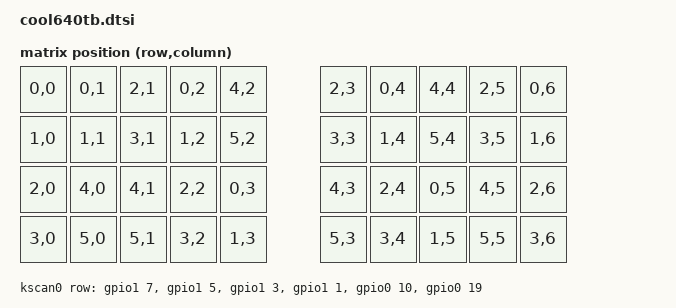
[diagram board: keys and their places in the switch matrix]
#include <dt-bindings/zmk/matrix_transform.h>
#include <physical_layouts.dtsi>

/ {
    chosen {
        zmk,physical-layout = &cool640tb_physical_layout;
    };
    
    cool640tb_physical_layout: cool640tb_physical_layout {
        compatible = "zmk,physical-layout";
        display-name = "Default";
        transform = <&default_transform>;
        kscan = <&kscan0>;
    
     keys  //                        w   h    x    y     rot    rx    ry
            = <&key_physical_attrs 100 100    0    0       0     0     0>
            , <&key_physical_attrs 100 100  100    0       0     0     0>
            , <&key_physical_attrs 100 100  200    0       0     0     0>
            , <&key_physical_attrs 100 100  300    0       0     0     0>
            , <&key_physical_attrs 100 100  400    0       0     0     0>

            , <&key_physical_attrs 100 100  600    0       0     0     0>
            , <&key_physical_attrs 100 100  700    0       0     0     0>
            , <&key_physical_attrs 100 100  800    0       0     0     0>
            , <&key_physical_attrs 100 100  900    0       0     0     0>
            , <&key_physical_attrs 100 100 1000    0       0     0     0>

            , <&key_physical_attrs 100 100    0    100     0     0     0>
            , <&key_physical_attrs 100 100  100    100     0     0     0>
            , <&key_physical_attrs 100 100  200    100     0     0     0>
            , <&key_physical_attrs 100 100  300    100     0     0     0>
            , <&key_physical_attrs 100 100  400    100     0     0     0>

            , <&key_physical_attrs 100 100  600    100     0     0     0>
            , <&key_physical_attrs 100 100  700    100     0     0     0>
            , <&key_physical_attrs 100 100  800    100     0     0     0>
            , <&key_physical_attrs 100 100  900    100     0     0     0>
            , <&key_physical_attrs 100 100 1000    100     0     0     0>

            , <&key_physical_attrs 100 100    0    200     0     0     0>
            , <&key_physical_attrs 100 100  100    200     0     0     0>
            , <&key_physical_attrs 100 100  200    200     0     0     0>
            , <&key_physical_attrs 100 100  300    200     0     0     0>
            , <&key_physical_attrs 100 100  400    200     0     0     0>
            
            , <&key_physical_attrs 100 100  600    200     0     0     0>
            , <&key_physical_attrs 100 100  700    200     0     0     0>
            , <&key_physical_attrs 100 100  800    200     0     0     0>
            , <&key_physical_attrs 100 100  900    200     0     0     0>
            , <&key_physical_attrs 100 100 1000    200     0     0     0>

            , <&key_physical_attrs 100 100    0    300     0     0     0>
            , <&key_physical_attrs 100 100  100    300     0     0     0>
            , <&key_physical_attrs 100 100  200    300     0     0     0>
            , <&key_physical_attrs 100 100  300    300     0     0     0>
            , <&key_physical_attrs 100 100  400    300     0     0     0>

            , <&key_physical_attrs 100 100  600    300     0     0     0>
            , <&key_physical_attrs 100 100  700    300     0     0     0>
            , <&key_physical_attrs 100 100  800    300     0     0     0>
            , <&key_physical_attrs 100 100  900    300     0     0     0>
            , <&key_physical_attrs 100 100 1000    300     0     0     0>
            ;
    };

    default_transform: keymap_transform_0 {
        compatible = "zmk,matrix-transform";
        columns = <7>;
        rows = <6>;               
        map = <
           RC(0,0) RC(0,1) RC(2,1) RC(0,2) RC(4,2)      RC(2,3) RC(0,4) RC(4,4) RC(2,5) RC(0,6)  
           RC(1,0) RC(1,1) RC(3,1) RC(1,2) RC(5,2)      RC(3,3) RC(1,4) RC(5,4) RC(3,5) RC(1,6) 
           RC(2,0) RC(4,0) RC(4,1) RC(2,2) RC(0,3)      RC(4,3) RC(2,4) RC(0,5) RC(4,5) RC(2,6) 
           RC(3,0) RC(5,0) RC(5,1) RC(3,2) RC(1,3)      RC(5,3) RC(3,4) RC(1,5) RC(5,5) RC(3,6)
        >;
    };

    kscan0: kscan {
        compatible = "zmk,kscan-gpio-matrix";
        label = "KSCAN";
        diode-direction = "col2row";
            row-gpios
                = <&gpio1 7 (GPIO_ACTIVE_HIGH | GPIO_PULL_DOWN)> 
                , <&gpio1 5 (GPIO_ACTIVE_HIGH | GPIO_PULL_DOWN)> 
                , <&gpio1 3 (GPIO_ACTIVE_HIGH | GPIO_PULL_DOWN)>
                , <&gpio1 1 (GPIO_ACTIVE_HIGH | GPIO_PULL_DOWN)>
                , <&gpio0 10 (GPIO_ACTIVE_HIGH | GPIO_PULL_DOWN)> 
                , <&gpio0 19 (GPIO_ACTIVE_HIGH | GPIO_PULL_DOWN)> 
                ;
    };
};
